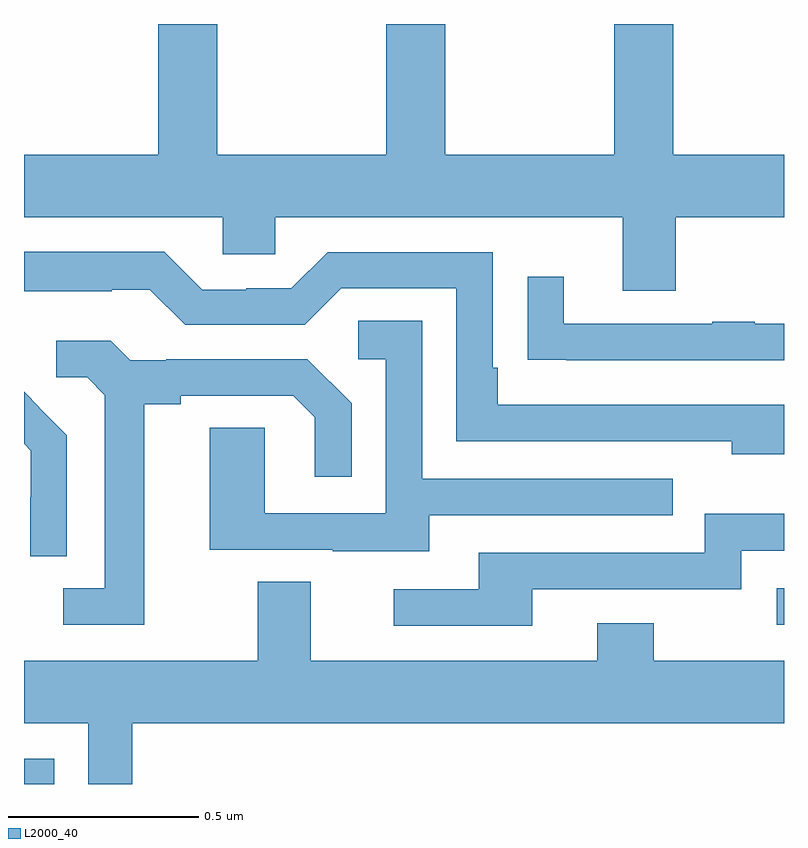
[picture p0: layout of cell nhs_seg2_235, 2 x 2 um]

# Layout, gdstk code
import gdstk
lib = gdstk.Library(unit=1e-6, precision=1e-09)
def R(c, l, rs):  # rectangles x0, y0, x1, y1
    for r in rs: c.add(gdstk.rectangle(r[:2], r[2:], *l))
def P(c, l, *ps):  # polygons
    for p in ps: c.add(gdstk.Polygon(p, *l))
L2000_40 = (2000, 40)

nhs_seg2_235 = lib.new_cell('nhs_seg2_235')
R(nhs_seg2_235, L2000_40, [(113,656.8,113.08,656.866), (114.981,657.219,115,657.315)])
P(nhs_seg2_235, L2000_40, [(114.715,658.292),(115,658.292),(115,658.456),(114.708,658.456),(114.708,658.8),(114.553,658.8),(114.553,658.456),(114.108,658.456),(114.108,658.8),(113.953,658.8),(113.953,658.456),(113.508,658.456),(113.508,658.8),(113.353,658.8),(113.353,658.456),(113,658.456),(113,658.292),(113.523,658.292),(113.523,658.194),(113.661,658.194),(113.661,658.292),(114.575,658.292),(114.575,658.098),(114.715,658.098)],
  [(115,657.798),(114.247,657.798),(114.247,657.895),(114.234,657.895),(114.234,658.2),(113.799,658.2),(113.703,658.104),(113.585,658.104),(113.585,658.101),(113.469,658.101),(113.369,658.201),(113,658.201),(113,658.097),(113.231,658.097),(113.231,658.101),(113.331,658.101),(113.424,658.008),(113.739,658.008),(113.835,658.104),(114.138,658.104),(114.138,657.702),(114.863,657.702),(114.863,657.668),(115,657.668)],
  [(115,658.011),(114.923,658.011),(114.923,658.016),(114.811,658.016),(114.811,658.011),(114.421,658.011),(114.421,658.135),(114.325,658.135),(114.325,657.916),(114.427,657.916),(114.427,657.915),(115,657.915)],
  [(114.067,657.507),(114.707,657.507),(114.707,657.603),(114.048,657.603),(114.048,658.019),(113.88,658.019),(113.88,657.918),(113.952,657.918),(113.952,657.513),(113.634,657.513),(113.634,657.737),(113.489,657.737),(113.489,657.417),(113.813,657.417),(113.813,657.413),(114.067,657.413)],
  [(113.317,657.8),(113.413,657.8),(113.413,657.822),(113.708,657.822),(113.765,657.765),(113.765,657.609),(113.862,657.609),(113.862,657.802),(113.746,657.918),(113.374,657.918),(113.374,657.915),(113.28,657.915),(113.228,657.967),(113.085,657.967),(113.085,657.87),(113.166,657.87),(113.213,657.823),(113.213,657.315),(113.103,657.315),(113.103,657.219),(113.317,657.219)],
  [(113.112,657.718),(113.039,657.791),(113.04,657.792),(113,657.832),(113,657.695),(113.018,657.677),(113.018,657.554),(113.016,657.554),(113.016,657.4),(113.112,657.4)],
  [(114.337,657.312),(114.888,657.312),(114.888,657.414),(115,657.414),(115,657.511),(114.792,657.511),(114.792,657.408),(114.197,657.408),(114.197,657.312),(113.973,657.312),(113.973,657.216),(114.337,657.216)],
  [(113.285,656.96),(115,656.96),(115,657.124),(114.657,657.124),(114.657,657.223),(114.509,657.223),(114.509,657.124),(113.755,657.124),(113.755,657.332),(113.615,657.332),(113.615,657.124),(113,657.124),(113,656.96),(113.169,656.96),(113.169,656.8),(113.285,656.8)])

lib.write_gds('nhs_seg2_235.gds')
